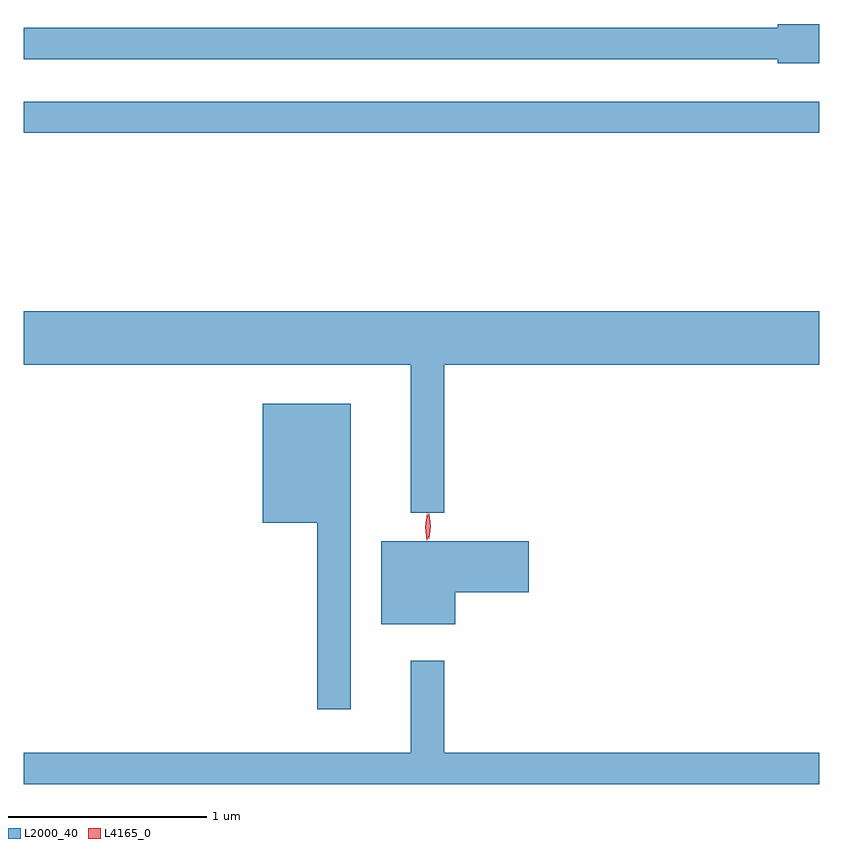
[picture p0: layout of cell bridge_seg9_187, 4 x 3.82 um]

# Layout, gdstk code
import gdstk
lib = gdstk.Library(unit=1e-6, precision=1e-09)
def R(c, l, rs):  # rectangles x0, y0, x1, y1
    for r in rs: c.add(gdstk.rectangle(r[:2], r[2:], *l))
def P(c, l, *ps):  # polygons
    for p in ps: c.add(gdstk.Polygon(p, *l))
L2000_40 = (2000, 40)
L4165_0 = (4165, 0)

bridge_seg9_187 = lib.new_cell('bridge_seg9_187')
R(bridge_seg9_187, L2000_40, [(1179.764,1986.321,1183.764,1986.479)])
P(bridge_seg9_187, L2000_40, [(1183.764,1986.869),(1183.556,1986.869),(1183.556,1986.849),(1179.764,1986.849),(1179.764,1986.691),(1183.556,1986.691),(1183.556,1986.671),(1183.764,1986.671)],
  [(1181.879,1985.156),(1183.764,1985.156),(1183.764,1985.424),(1179.764,1985.424),(1179.764,1985.156),(1181.711,1985.156),(1181.711,1984.413),(1181.879,1984.413)],
  [(1181.409,1984.959),(1180.966,1984.959),(1180.966,1984.361),(1181.241,1984.361),(1181.241,1983.423),(1181.409,1983.423)],
  [(1181.934,1984.011),(1182.304,1984.011),(1182.304,1984.269),(1181.561,1984.269),(1181.561,1983.851),(1181.934,1983.851)],
  [(1183.764,1983.204),(1181.879,1983.204),(1181.879,1983.668),(1181.711,1983.668),(1181.711,1983.204),(1179.764,1983.204),(1179.764,1983.048),(1183.764,1983.048)])
P(bridge_seg9_187, L4165_0, [(1181.791,1984.274),(1181.782,1984.342),(1181.793,1984.41),(1181.793,1984.41),(1181.794,1984.41),(1181.802,1984.342),(1181.792,1984.274),(1181.792,1984.274)],
  [(1181.801,1984.28),(1181.791,1984.343),(1181.8,1984.406),(1181.801,1984.407),(1181.802,1984.406),(1181.811,1984.343),(1181.802,1984.28),(1181.802,1984.28)])

lib.write_gds('bridge_seg9_187.gds')
